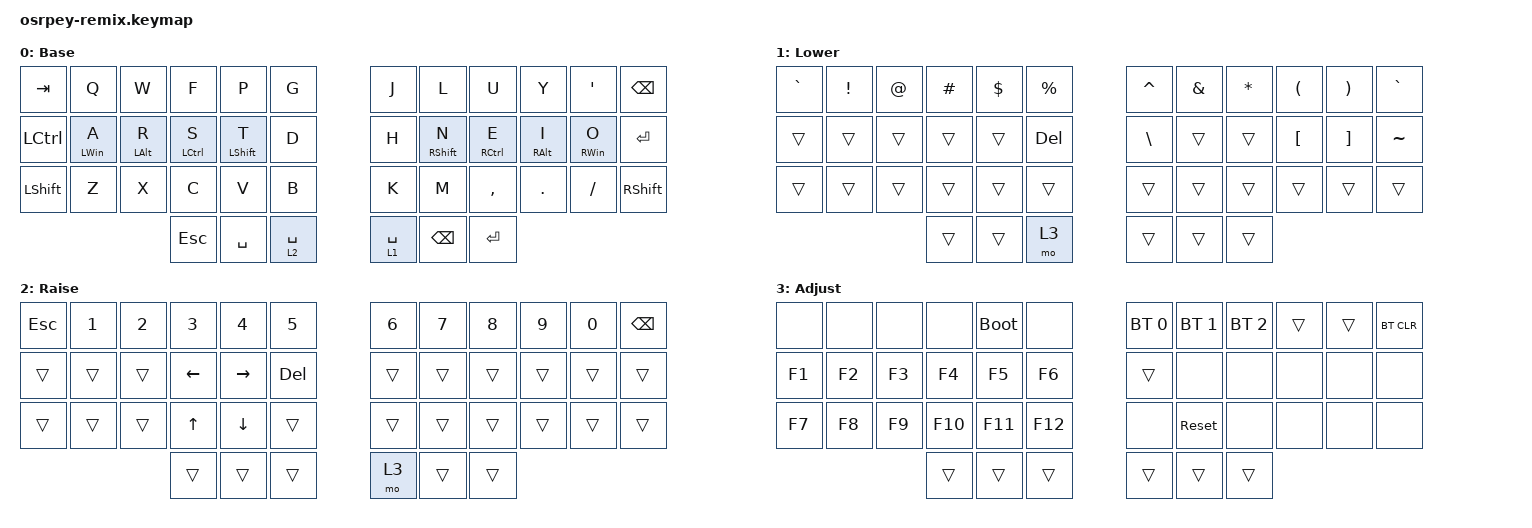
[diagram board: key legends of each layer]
#include <behaviors.dtsi>
#include <dt-bindings/zmk/bt.h>
#include <dt-bindings/zmk/keys.h>

&mt {
    flavor = "balanced";
    tapping-term-ms = <250>;
};

/ {
    combos {
        compatible = "zmk,combos";

        print_screen {
            bindings = <&kp PRINTSCREEN>;
            key-positions = <25 26 27>;
        };

        equal {
            bindings = <&kp EQUAL>;
            key-positions = <18 19>;
        };

        minus2 {
            bindings = <&kp MINUS>;
            key-positions = <17 16>;
        };

        haen {
            bindings = <&kp LANG1>;
            key-positions = <32 33>;
        };
    };

    keymap {
        compatible = "zmk,keymap";

        default_layer {
            display-name = "Base";
            bindings = <
&kp TAB    &kp Q       &kp W           &kp F        &kp P        &kp G        &kp J        &kp L          &kp U        &kp Y       &kp SINGLE_QUOTE  &kp BACKSPACE
&kp LCTRL  &mt LWIN A  &mt LEFT_ALT R  &mt LCTRL S  &mt LSHFT T  &kp D        &kp H        &mt RSHFT N    &mt RCTRL E  &mt RALT I  &mt RWIN O        &kp ENTER
&kp LSHFT  &kp Z       &kp X           &kp C        &kp V        &kp B        &kp K        &kp M          &kp COMMA    &kp DOT     &kp FSLH          &kp RSHFT
                                       &kp ESC      &kp SPACE    &lt 2 SPACE  &lt 1 SPACE  &kp BACKSPACE  &kp ENTER
            >;
        };

        lower_layer {
            display-name = "Lower";
            bindings = <
&kp GRAVE  &kp EXCL  &kp AT  &kp HASH  &kp DLLR  &kp PRCNT  &kp CARET      &kp AMPS  &kp ASTRK  &kp LPAR          &kp RPAR           &kp GRAVE
&trans     &trans    &trans  &trans    &trans    &kp DEL    &kp BACKSLASH  &trans    &trans     &kp LEFT_BRACKET  &kp RIGHT_BRACKET  &kp TILDE
&trans     &trans    &trans  &trans    &trans    &trans     &trans         &trans    &trans     &trans            &trans             &trans
                             &trans    &trans    &mo 3      &trans         &trans    &trans
            >;
        };

        raise_layer {
            display-name = "Raise";
            bindings = <
&kp ESCAPE  &kp N1  &kp N2  &kp N3        &kp N4          &kp N5      &kp N6  &kp N7  &kp N8  &kp N9  &kp N0  &kp BACKSPACE
&trans      &trans  &trans  &kp LEFT      &kp RIGHT       &kp DELETE  &trans  &trans  &trans  &trans  &trans  &trans
&trans      &trans  &trans  &kp UP_ARROW  &kp DOWN_ARROW  &trans      &trans  &trans  &trans  &trans  &trans  &trans
                            &trans        &trans          &trans      &mo 3   &trans  &trans
            >;
        };

        adjust_layer {
            display-name = "Adjust";
            bindings = <
&none   &none   &none   &none    &bootloader  &none    &bt BT_SEL 0  &bt BT_SEL 1  &bt BT_SEL 2  &trans  &trans  &bt BT_CLR
&kp F1  &kp F2  &kp F3  &kp F4   &kp F5       &kp F6   &trans        &none         &none         &none   &none   &none
&kp F7  &kp F8  &kp F9  &kp F10  &kp F11      &kp F12  &none         &sys_reset    &none         &none   &none   &none
                        &trans   &trans       &trans   &trans        &trans        &trans
            >;
        };
    };
};
